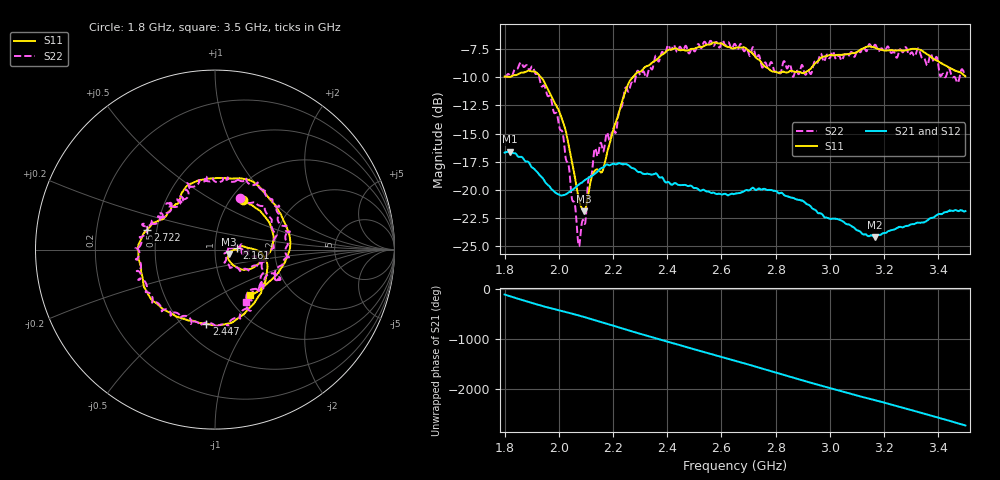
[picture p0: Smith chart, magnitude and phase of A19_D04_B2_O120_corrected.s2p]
! Created with skrf 1.9.0 (http://scikit-rf.org).
# Hz S RI R 50.0
!freq ReS11 ImS11 ReS21 ImS21 ReS12 ImS12 ReS22 ImS22
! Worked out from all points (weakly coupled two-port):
!   1601 points, 1.8 GHz to 3.5 GHz, reference 50 ohm
!   highest |S21| = -16.60 dB at 1.819 GHz (marker M1); lowest = -24.2 dB at 3.165 GHz (marker M2)
!   lowest |S11| = -21.9 dB at 2.093 GHz (marker M3), VSWR 1.18, Z = 58.2 - j2.91 ohm
!   |S11| at or under -10 dB: 1.934 GHz to 2.274 GHz (339.6 MHz wide, 16.1 % of centre)
!   |S22| runs from -25.0 to -6.7 dB; largest |S21 - S12| = 0.0024
!   S11 on the Smith chart (normalised r, x): 1.8 GHz: 1.13, +0.70; 2.161 GHz: 1.28, +0.02; 2.447 GHz: 0.65, -0.65; 2.722 GHz: 0.44, +0.12; 3.5 GHz: 1.26, -0.71
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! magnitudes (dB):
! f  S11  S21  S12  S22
! 1.8 GHz  -9.9  -16.7  -16.7  -9.9
! 1.819 GHz  -10.0  -16.6  -16.6  -9.8
! 1.903 GHz  -9.5  -18.0  -18.0  -9.1
! 1.968 GHz  -11.5  -19.7  -19.8  -11.7
! 2.014 GHz  -13.9  -20.5  -20.5  -14.9
! 2.072 GHz  -20.6  -19.6  -19.6  -24.8
! 2.084 GHz  -21.6  -19.4  -19.3  -23.1
! 2.093 GHz  -21.9  -19.2  -19.2  -22.8
! 2.13 GHz  -18.4  -18.6  -18.6  -16.5
! 2.161 GHz  -18.3  -18.0  -17.9  -16.4
! 2.259 GHz  -10.4  -17.8  -17.8  -11.2
! 2.367 GHz  -8.3  -18.8  -18.7  -8.6
! 2.447 GHz  -7.6  -19.6  -19.5  -7.3
! 2.65 GHz  -7.4  -20.3  -20.3  -7.1
! 2.722 GHz  -8.1  -19.9  -19.8  -7.8
! 2.808 GHz  -9.6  -20.2  -20.2  -9.4
! 2.934 GHz  -9.1  -21.6  -21.6  -9.5
! 3.165 GHz  -7.4  -24.2  -24.1  -7.1
! 3.217 GHz  -7.6  -23.6  -23.6  -7.4
! 3.327 GHz  -7.5  -22.9  -22.9  -7.5
! 3.468 GHz  -9.5  -21.8  -21.8  -10.4
! 3.5 GHz  -9.9  -21.9  -21.8  -9.4
